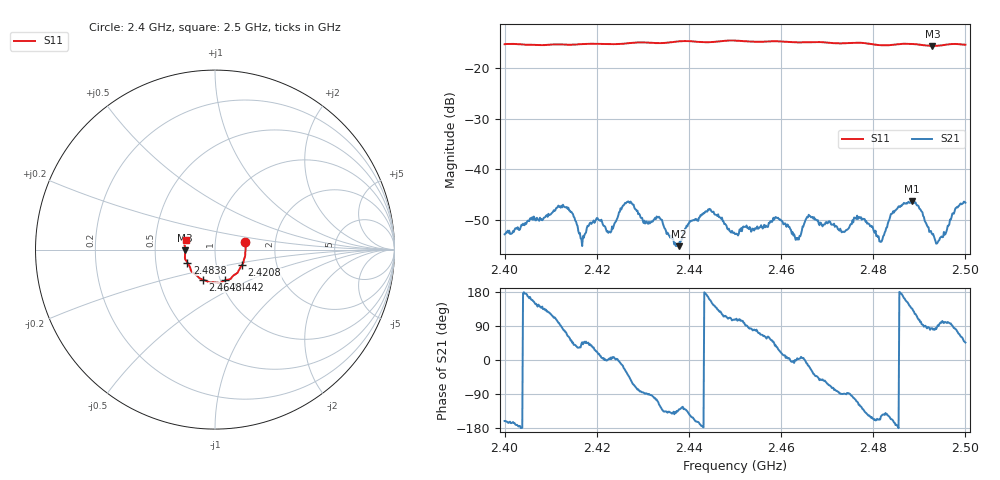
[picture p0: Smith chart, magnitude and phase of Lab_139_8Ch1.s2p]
# Hz S RI R 50
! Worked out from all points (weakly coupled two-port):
!   601 points, 2.4 GHz to 2.5 GHz, reference 50 ohm
!   highest |S21| = -46.26 dB at 2.4883 GHz (marker M1); lowest = -55.2 dB at 2.4378 GHz (marker M2)
!   lowest |S11| = -15.6 dB at 2.4928 GHz (marker M3), VSWR 1.40, Z = 35.8 - j0.355 ohm
!   |S11| at or under -10 dB: start of sweep to end of sweep
!   S12 and S22 are empty: the file has one direction only
!   S11 on the Smith chart (normalised r, x): 2.4 GHz: 1.40, +0.12; 2.4208 GHz: 1.33, -0.24; 2.4442 GHz: 1.05, -0.37; 2.4648 GHz: 0.83, -0.29; 2.4838 GHz: 0.73, -0.11; 2.5 GHz: 0.72, +0.08
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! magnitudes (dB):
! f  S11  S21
! 2.4 GHz  -15.3  -52.8
! 2.4122 GHz  -15.3  -47.6
! 2.4167 GHz  -15.2  -53.7
! 2.4208 GHz  -15.2  -50.1
! 2.4227 GHz  -15.2  -52.3
! 2.427 GHz  -15.0  -46.5
! 2.4307 GHz  -14.9  -50.4
! 2.4333 GHz  -15.0  -49.5
! 2.4378 GHz  -14.7  -55.2
! 2.4442 GHz  -14.9  -47.9
! 2.45 GHz  -14.5  -52.8
! 2.4648 GHz  -14.9  -51.3
! 2.4667 GHz  -14.8  -49.4
! 2.4735 GHz  -15.1  -52.3
! 2.4773 GHz  -15.0  -49.4
! 2.4815 GHz  -15.4  -54.3
! 2.4833 GHz  -15.5  -50.2
! 2.4838 GHz  -15.4  -48.8
! 2.4883 GHz  -15.2  -46.3
! 2.4928 GHz  -15.6  -52.8
! 2.4942 GHz  -15.5  -54.1
! 2.5 GHz  -15.4  -46.6
